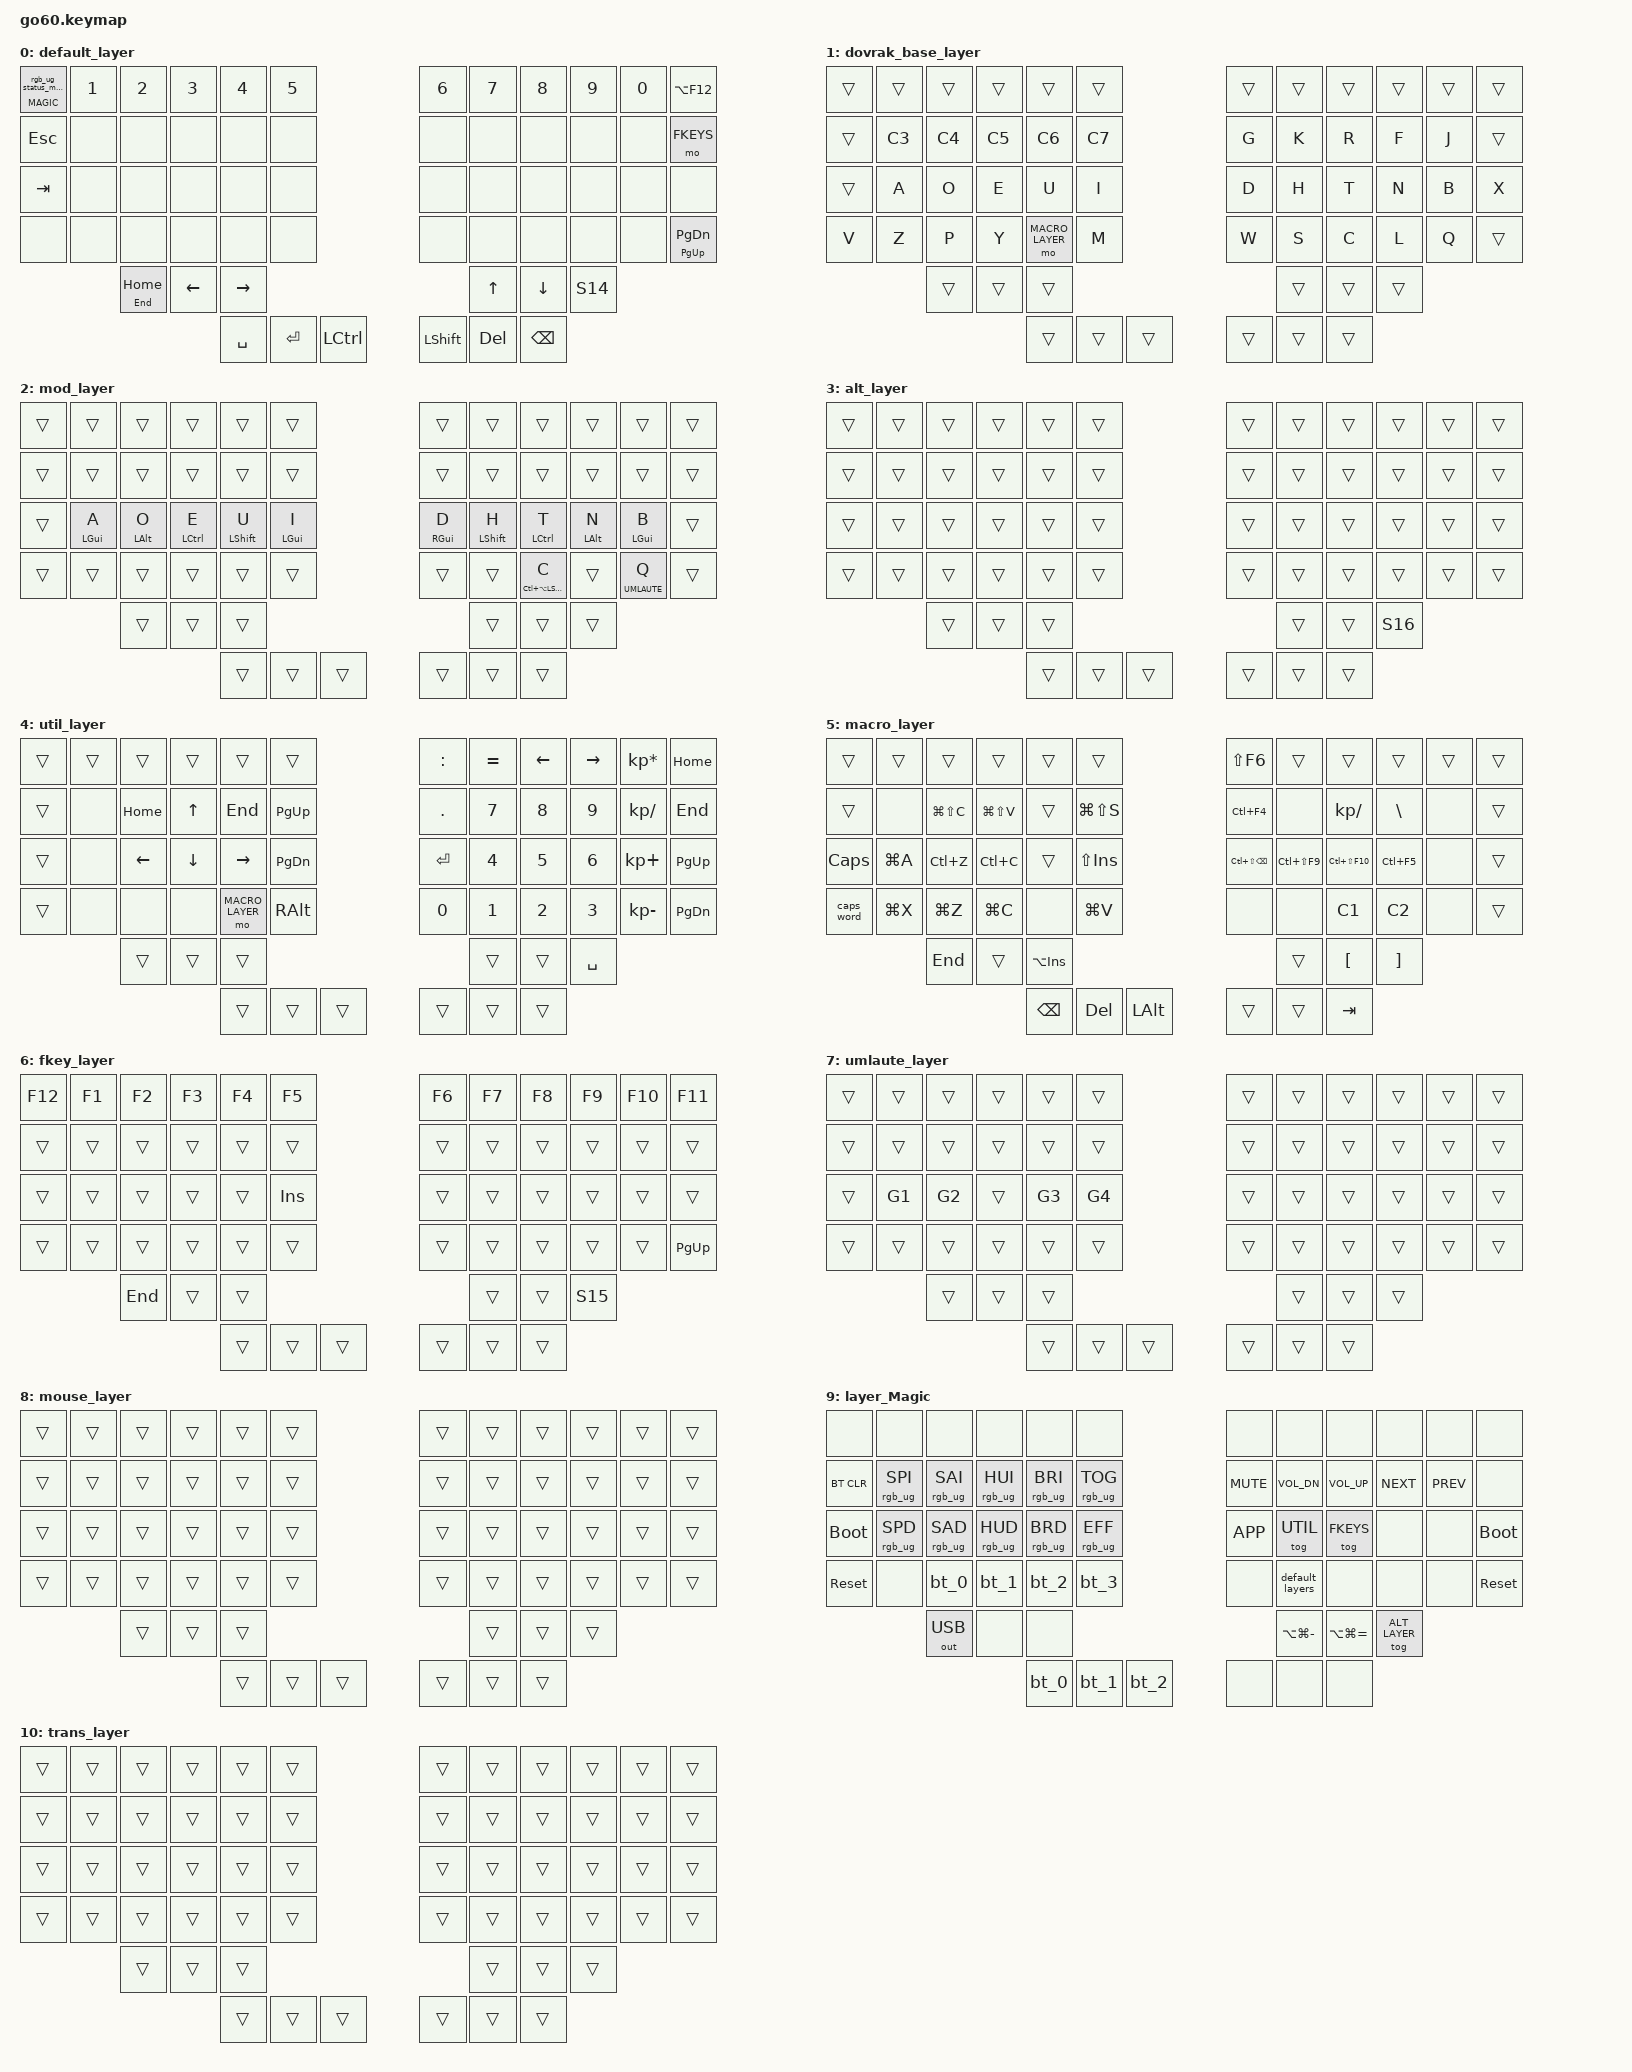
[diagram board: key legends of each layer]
/*
 * Copyright (c) 2020 The ZMK Contributors
 *
 * SPDX-License-Identifier: MIT
 */

#include <behaviors.dtsi>

#include <dt-bindings/zmk/bt.h>
#include <dt-bindings/zmk/ext_power.h>
#include <dt-bindings/zmk/keys.h>
#include <dt-bindings/zmk/outputs.h>
#include <dt-bindings/zmk/rgb.h>
#include <dt-bindings/zmk/input_transform.h>
#include <dt-bindings/zmk/pointing.h>

#include <input/processors.dtsi>
#include <zephyr/dt-bindings/input/input-event-codes.h>

#define HYPER LC(LA(LSHFT))

#define CUT   &kp LC(X)
#define COPY  &kp LC(C)
#define PASTE &kp LC(V)
#define PASTEINS &kp LS(INS)

#define D16 &kp KP_SLASH                          // / when tapped
#define D17 &kp BACKSLASH                         // \ when tapped

// layers
#define DEFAULT                0
#define DOVRAK                 1
#define MOD_LAYER              2
#define ALT_LAYER              3
#define UTIL                   4
#define MACRO_LAYER            5
#define FKEYS                  6
#define UMLAUTE                7
#define MOUSE                  8
#define MAGIC                  9

&mt {
//    flavor = "tap-preferred";
    tapping-term-ms = <200>;
};
//        #################################################  CUSTOM KEYS ################################################# //
//        ~~~~~~~~~~~~~~~~~~~~~~~~~~~~~~~~~~~~~~~~~~~~~~~~~  CUSTOM KEYS ~~~~~~~~~~~~~~~~~~~~~~~~~~~~~~~~~~~~~~~~~~~~~~~~~ //

// bindings = <
// &0     &1     &2     &3     &4                                                             &5     &6     &7     &8     &9
// &10    &11    &12    &13    &14    &15                                              &16    &17    &18    &19    &20    &21
// &22    &23    &24    &25    &26    &27                                              &28    &29    &30    &31    &32    &33
// &34    &35    &36    &37    &38    &39                                              &40    &41    &42    &43    &44    &45
// &46    &47    &48    &49    &50    &51    &52    &53    &54    &55    &56    &57    &58    &59    &60    &61    &62    &63
// &64    &65    &66    &67    &68           &69    &70    &71    &72    &73    &74           &75    &76    &77    &78    &79
// >;

// bindings = <
// &0    &1    &2    &3    &4    &5                                         &6    &7    &8    &9    &10   &11
// &12   &13   &14   &15   &16   &17                                        &18   &19   &20   &21   &22   &23
// &24   &25   &26   &27   &28   &29                                        &30   &31   &32   &33   &34   &35
// &36   &37   &38   &39   &40   &41                                        &42   &43   &44   &45   &46   &47
//                   &48   &49   &50                                        &51   &52   &53
//                                    &54   &55   &56     &57   &58   &59
// >;
/ {
    input_processors {
        zip_click_to_right_click_mapper: zip_click_to_right_click_mapper {
            compatible = "zmk,input-processor-code-mapper";
            #input-processor-cells = <0>;
            type = <INPUT_EV_KEY>;
            map = <INPUT_BTN_0 INPUT_BTN_1>;
        };
    };

    behaviors {
//        #################################################  HOMEROW MODS #################################################  //
         hml: home_row_mod_left {
             compatible = "zmk,behavior-hold-tap";
             #binding-cells = <2>;
             flavor = "balanced";
             require-prior-idle-ms = <200>;
             tapping-term-ms = <250>;
             quick-tap-ms = <180>;
             bindings = <&kp>, <&kp>;
             hold-trigger-key-positions = <6>,<7>,<8>,<9>,<10>,<11>,<18>,<19>,<20>,<21>,<22>,<23>,<30>,<31>,<32>,<33>,<34>,<35>,<42>,<43>,<44>,<45>,<46>,<47>,<51>,<52>,<53>, // List of keys on the right side of the keyboard
             <54>,<55>,<56>,<57>,<58>,<59>; //thumbs
             hold-trigger-on-release;
         };
         hmr: home_row_mod_right {
             compatible = "zmk,behavior-hold-tap";
             #binding-cells = <2>;
             flavor = "balanced";
             require-prior-idle-ms = <200>;
             tapping-term-ms = <250>;
             quick-tap-ms = <180>;
             bindings = <&kp>, <&kp>;
             hold-trigger-key-positions = <0>,<1>,<2>,<3>,<4>,<5>,<12>,<13>,<14>,<15>,<16>,<17>,<24>,<25>,<26>,<27>,<28>,<29>,<36>,<37>,<38>,<39>,<40>,<41>,<48>,<49>,<50>,// List of keys on the left side of the keyboard
             <52>,<53>,<54>,<55>,<56>,<57>,<69>,<70>,<71>,<72>,<73>,<74>; //thumbs
             hold-trigger-on-release;
         };

        hmr2: home_row_mod_right2 {
            compatible = "zmk,behavior-hold-tap";
            #binding-cells = <2>;
            flavor = "balanced";
            require-prior-idle-ms = <150>;
            tapping-term-ms = <180>;
            quick-tap-ms = <125>;
            bindings = <&mo>, <&kp>;
            hold-trigger-key-positions = <0>,<1>,<2>,<3>,<4>,<5>,<12>,<13>,<14>,<15>,<16>,<17>,<24>,<25>,<26>,<27>,<28>,<29>,<36>,<37>,<38>,<39>,<40>,<41>,<48>,<49>,<50>;// List of keys on the left side of the keyboard
            hold-trigger-on-release;
        };
//        ~~~~~~~~~~~~~~~~~~~~~~~~~~~~~~~~~~~~~~~~~~~~~~~~  HOMEROW MODS ~~~~~~~~~~~~~~~~~~~~~~~~~~~~~~~~~~~~~~~~~~~~~~~~  //

//        #################################################  CUSTOM KEYS ################################################# //

        S0: S0 {
                    compatible = "zmk,behavior-mod-morph";
                    #binding-cells = <0>;
                    bindings = <&kp ESC>, <&caps_word>;
                    mods = <(MOD_LSFT|MOD_RSFT)>;
        };

        S1: S1   { compatible = "zmk,behavior-mod-morph"; #binding-cells = <0>; bindings = <&kp COMMA>             , <&kp UNDERSCORE>      ; mods = <(MOD_LSFT|MOD_RSFT)>; };
        S2: S2   { compatible = "zmk,behavior-mod-morph"; #binding-cells = <0>; bindings = <&kp EQUAL>             , <&kp CARET>           ; mods = <(MOD_LSFT|MOD_RSFT)>; };
        S3: S3   { compatible = "zmk,behavior-mod-morph"; #binding-cells = <0>; bindings = <&kp DOT>               , <&kp EXCLAMATION>     ; mods = <(MOD_LSFT|MOD_RSFT)>; };
        S4: S4   { compatible = "zmk,behavior-mod-morph"; #binding-cells = <0>; bindings = <&kp COLON>             , <&kp SEMI>            ; mods = <(MOD_LSFT|MOD_RSFT)>; };
        S5: S5   { compatible = "zmk,behavior-mod-morph"; #binding-cells = <0>; bindings = <&kp DOLLAR>            , <&kp AMPS>            ; mods = <(MOD_LSFT|MOD_RSFT)>; };
        S6: S6   { compatible = "zmk,behavior-mod-morph"; #binding-cells = <0>; bindings = <&kp DOUBLE_QUOTES>     , <&kp SINGLE_QUOTE>    ; mods = <(MOD_LSFT|MOD_RSFT)>; };
        S7: S7   { compatible = "zmk,behavior-mod-morph"; #binding-cells = <0>; bindings = <&kp LEFT_BRACE>        , <&kp LESS_THAN>       ; mods = <(MOD_LSFT|MOD_RSFT)>; };
        S8: S8   { compatible = "zmk,behavior-mod-morph"; #binding-cells = <0>; bindings = <&kp LEFT_PARENTHESIS>  , <&kp LEFT_BRACKET>    ; mods = <(MOD_LSFT|MOD_RSFT)>; };
        S9: S9   { compatible = "zmk,behavior-mod-morph"; #binding-cells = <0>; bindings = <&kp RIGHT_PARENTHESIS> , <&kp RIGHT_BRACKET>   ; mods = <(MOD_LSFT|MOD_RSFT)>; };
        S10: S10 { compatible = "zmk,behavior-mod-morph"; #binding-cells = <0>; bindings = <&kp RIGHT_BRACE>       , <&kp GREATER_THAN>    ; mods = <(MOD_LSFT|MOD_RSFT)>; };
        S11: S11 { compatible = "zmk,behavior-mod-morph"; #binding-cells = <0>; bindings = <&kp TILDE>             , <&kp CARET>           ; mods = <(MOD_LSFT|MOD_RSFT)>; };
        S12: S12 { compatible = "zmk,behavior-mod-morph"; #binding-cells = <0>; bindings = <&kp QUESTION>          , <&kp EXCLAMATION>     ; mods = <(MOD_LSFT|MOD_RSFT)>; };
        S13: S13 { compatible = "zmk,behavior-mod-morph"; #binding-cells = <0>; bindings = <&kp HASH>              , <&kp GRAVE>           ; mods = <(MOD_LSFT|MOD_RSFT)>; };
        S14: S14 { compatible = "zmk,behavior-mod-morph"; #binding-cells = <0>; bindings = <&kp KP_PLUS>           , <&kp KP_MINUS>        ; mods = <(MOD_LSFT|MOD_RSFT)>; };
        S15: S15 { compatible = "zmk,behavior-mod-morph"; #binding-cells = <0>; bindings = <&kp KP_MINUS>          , <&kp SLASH>           ; mods = <(MOD_LSFT|MOD_RSFT)>; };
        S16: S16 { compatible = "zmk,behavior-mod-morph"; #binding-cells = <0>; bindings = <&kp KP_MINUS>          , <&kp UNDERSCORE>      ; mods = <(MOD_LSFT|MOD_RSFT)>; };

        C0:  C0    { compatible = "zmk,behavior-mod-morph"; #binding-cells = <0>; bindings = <&S14>   , <&S15>                             ; mods =                   <(MOD_LCTL|MOD_RCTL|MOD_LALT|MOD_RALT)>; keep-mods = <(MOD_LSFT|MOD_RSFT)>; };
        // S7 & S8 ([{<
        C1:  C1    { compatible = "zmk,behavior-mod-morph"; #binding-cells = <0>; bindings = <&kp LEFT_PARENTHESIS>   , <&C1A>             ; mods = <(MOD_LSFT|MOD_RSFT|MOD_LCTL|MOD_RCTL|MOD_LALT|MOD_RALT)>; keep-mods = <(MOD_LCTL|MOD_RCTL|MOD_LALT|MOD_RALT)>; };
        C1A: C1A   { compatible = "zmk,behavior-mod-morph"; #binding-cells = <0>; bindings = <&kp LEFT_BRACKET>       , <&C1B>             ; mods = <(                  MOD_LCTL|MOD_RCTL|MOD_LALT|MOD_RALT)>; keep-mods = <(                  MOD_LALT|MOD_RALT)>; };
        C1B: C1B   { compatible = "zmk,behavior-mod-morph"; #binding-cells = <0>; bindings = <&kp LEFT_BRACE>         , <&kp LESS_THAN>    ; mods = <(                                    MOD_LALT|MOD_RALT)>;                                                      };
        // S9 & S10 )]}>
        C2:  C2    { compatible = "zmk,behavior-mod-morph"; #binding-cells = <0>; bindings = <&kp RIGHT_PARENTHESIS>  , <&C2A>             ; mods = <(MOD_LSFT|MOD_RSFT|MOD_LCTL|MOD_RCTL|MOD_LALT|MOD_RALT)>; keep-mods = <(MOD_LCTL|MOD_RCTL|MOD_LALT|MOD_RALT)>; };
        C2A: C2A   { compatible = "zmk,behavior-mod-morph"; #binding-cells = <0>; bindings = <&kp RIGHT_BRACKET>      , <&C2B>             ; mods = <(                  MOD_LCTL|MOD_RCTL|MOD_LALT|MOD_RALT)>; keep-mods = <(                  MOD_LALT|MOD_RALT)>; };
        C2B: C2B   { compatible = "zmk,behavior-mod-morph"; #binding-cells = <0>; bindings = <&kp RIGHT_BRACE>        , <&kp GREATER_THAN> ; mods = <(                                    MOD_LALT|MOD_RALT)>;                                                      };

        // |*#^
        C3:  C3    { compatible = "zmk,behavior-mod-morph"; #binding-cells = <0>; bindings = <&kp PIPE>               , <&C3A>             ; mods = <(MOD_LSFT|MOD_RSFT|MOD_LCTL|MOD_RCTL|MOD_LALT|MOD_RALT)>; keep-mods = <(MOD_LCTL|MOD_RCTL|MOD_LALT|MOD_RALT)>; };
        C3A: C3A   { compatible = "zmk,behavior-mod-morph"; #binding-cells = <0>; bindings = <&kp ASTERISK>           , <&C3B>             ; mods = <(                  MOD_LCTL|MOD_RCTL|MOD_LALT|MOD_RALT)>; keep-mods = <(                  MOD_LALT|MOD_RALT)>; };
        C3B: C3B   { compatible = "zmk,behavior-mod-morph"; #binding-cells = <0>; bindings = <&kp HASH>               , <&kp CARET>        ; mods = <(                                    MOD_LALT|MOD_RALT)>;                                                      };

        // !?&|
        C4:  C4    { compatible = "zmk,behavior-mod-morph"; #binding-cells = <0>; bindings = <&kp EXCLAMATION>        , <&C4A>             ; mods = <(MOD_LSFT|MOD_RSFT|MOD_LCTL|MOD_RCTL|MOD_LALT|MOD_RALT)>; keep-mods = <(MOD_LCTL|MOD_RCTL|MOD_LALT|MOD_RALT)>; };
        C4A: C4A   { compatible = "zmk,behavior-mod-morph"; #binding-cells = <0>; bindings = <&kp QUESTION>           , <&C4B>             ; mods = <(                  MOD_LCTL|MOD_RCTL|MOD_LALT|MOD_RALT)>; keep-mods = <(                  MOD_LALT|MOD_RALT)>; };
        C4B: C4B   { compatible = "zmk,behavior-mod-morph"; #binding-cells = <0>; bindings = <&kp AMPS>               , <&kp PIPE>         ; mods = <(                                    MOD_LALT|MOD_RALT)>;                                                      };

        // .=,_
        C5:  C5    { compatible = "zmk,behavior-mod-morph"; #binding-cells = <0>; bindings = <&kp DOT>                , <&C5A>             ; mods = <(MOD_LSFT|MOD_RSFT|MOD_LCTL|MOD_RCTL|MOD_LALT|MOD_RALT)>; keep-mods = <(MOD_LCTL|MOD_RCTL|MOD_LALT|MOD_RALT)>; };
        C5A: C5A   { compatible = "zmk,behavior-mod-morph"; #binding-cells = <0>; bindings = <&kp EQUAL>              , <&C5B>             ; mods = <(                  MOD_LCTL|MOD_RCTL|MOD_LALT|MOD_RALT)>; keep-mods = <(                  MOD_LALT|MOD_RALT)>; };
        C5B: C5B   { compatible = "zmk,behavior-mod-morph"; #binding-cells = <0>; bindings = <&kp COMMA>              , <&kp PLUS>         ; mods = <(                                    MOD_LALT|MOD_RALT)>;                                                      };

        // :;%~
        C6:  C6    { compatible = "zmk,behavior-mod-morph"; #binding-cells = <0>; bindings = <&kp SEMI>               , <&C6A>             ; mods = <(MOD_LSFT|MOD_RSFT|MOD_LCTL|MOD_RCTL|MOD_LALT|MOD_RALT)>; keep-mods = <(MOD_LCTL|MOD_RCTL|MOD_LALT|MOD_RALT)>; };
        C6A: C6A   { compatible = "zmk,behavior-mod-morph"; #binding-cells = <0>; bindings = <&kp COLON>              , <&C6B>             ; mods = <(                  MOD_LCTL|MOD_RCTL|MOD_LALT|MOD_RALT)>; keep-mods = <(                  MOD_LALT|MOD_RALT)>; };
        C6B: C6B   { compatible = "zmk,behavior-mod-morph"; #binding-cells = <0>; bindings = <&kp PERCENT>            , <&kp TILDE>        ; mods = <(                                    MOD_LALT|MOD_RALT)>;                                                      };

        // "'`
        C7:  C7    { compatible = "zmk,behavior-mod-morph"; #binding-cells = <0>; bindings = <&kp DOUBLE_QUOTES>      , <&C7A>             ; mods = <(MOD_LSFT|MOD_RSFT|MOD_LCTL|MOD_RCTL|MOD_LALT|MOD_RALT)>; keep-mods = <(MOD_LCTL|MOD_RCTL|MOD_LALT|MOD_RALT)>; };
        C7A: C7A   { compatible = "zmk,behavior-mod-morph"; #binding-cells = <0>; bindings = <&kp SINGLE_QUOTE>       , <&C7B>             ; mods = <(                  MOD_LCTL|MOD_RCTL|MOD_LALT|MOD_RALT)>; keep-mods = <(                  MOD_LALT|MOD_RALT)>; };
        C7B: C7B   { compatible = "zmk,behavior-mod-morph"; #binding-cells = <0>; bindings = <&kp GRAVE>              , <&kp DOLLAR>       ; mods = <(                                    MOD_LALT|MOD_RALT)>;                                                      };

        // a A
        G1:  G1    { compatible = "zmk,behavior-mod-morph"; #binding-cells = <0>; bindings = <&macro_ae>   , <&macro_AEE>   ; mods = <(MOD_LSFT|MOD_RSFT)>; };
        G2:  G2    { compatible = "zmk,behavior-mod-morph"; #binding-cells = <0>; bindings = <&macro_oe>   , <&macro_OEE>   ; mods = <(MOD_LSFT|MOD_RSFT)>; };
        G3:  G3    { compatible = "zmk,behavior-mod-morph"; #binding-cells = <0>; bindings = <&macro_ue>   , <&macro_UEE>   ; mods = <(MOD_LSFT|MOD_RSFT)>; };
        G4:  G4    { compatible = "zmk,behavior-mod-morph"; #binding-cells = <0>; bindings = <&macro_sz>   , <&macro_sz>    ; mods = <(MOD_LSFT|MOD_RSFT)>; };
//        ~~~~~~~~~~~~~~~~~~~~~~~~~~~~~~~~~~~~~~~~~~~~~~~~  CUSTOMKEYS ~~~~~~~~~~~~~~~~~~~~~~~~~~~~~~~~~~~~~~~~~~~~~~~~  //

        magic: magic {
            compatible = "zmk,behavior-hold-tap";
            #binding-cells = <2>;
            flavor = "tap-preferred";
            tapping-term-ms = <200>;
            bindings = <&mo>, <&rgb_ug_status_macro>;
        };

        fkey_td: fkey_td {
            compatible = "zmk,behavior-tap-dance";
            #binding-cells = <0>;
            tapping-term-ms = <200>;
            bindings = <&mo FKEYS>, <&to FKEYS>;
        };

        bt_0: bt_0 {
            compatible = "zmk,behavior-tap-dance";
            #binding-cells = <0>;
            tapping-term-ms = <200>;
            bindings = <&bt_select_0>, <&bt BT_DISC 0>;
        };
        bt_1: bt_1 {
            compatible = "zmk,behavior-tap-dance";
            #binding-cells = <0>;
            tapping-term-ms = <200>;
            bindings = <&bt_select_1>, <&bt BT_DISC 1>;
        };
        bt_2: bt_2 {
            compatible = "zmk,behavior-tap-dance";
            #binding-cells = <0>;
            tapping-term-ms = <200>;
            bindings = <&bt_select_2>, <&bt BT_DISC 2>;
        };
        bt_3: bt_3 {
            compatible = "zmk,behavior-tap-dance";
            #binding-cells = <0>;
            tapping-term-ms = <200>;
            bindings = <&bt_select_3>, <&bt BT_DISC 3>;
        };
    };

    macros {
//        #################################################  ASCII KEYS ################################################# //
        // ä (U+00E4)
        macro_ae: macro_ae {
            compatible = "zmk,behavior-macro";
            #binding-cells = <0>;
            bindings
              = <&macro_press &kp LC(LS(U))>
              , <&macro_release>
              , <&macro_tap &kp E>
              , <&macro_tap &kp N4>
              , <&macro_tap &kp SPACE>
              ;
        };

        // ö (U+00F6)
        macro_oe: macro_oe {
            compatible = "zmk,behavior-macro";
            #binding-cells = <0>;
            bindings
              = <&macro_press &kp LC(LS(U))>
              , <&macro_release>
              , <&macro_tap &kp F>
              , <&macro_tap &kp N6>
              , <&macro_tap &kp SPACE>
              ;
        };

        // ü (U+00FC)
        macro_ue: macro_ue {
            compatible = "zmk,behavior-macro";
            #binding-cells = <0>;
            bindings
              = <&macro_press &kp LC(LS(U))>
              , <&macro_release>
              , <&macro_tap &kp F>
              , <&macro_tap &kp C>
              , <&macro_tap &kp SPACE>
              ;
        };

        // Ä (U+00C4)
        macro_AEE: macro_AEE {
            compatible = "zmk,behavior-macro";
            #binding-cells = <0>;
            bindings
              = <&macro_press &kp LC(LS(U))>
              , <&macro_release>
              , <&macro_tap &kp C>
              , <&macro_tap &kp N4>
              , <&macro_tap &kp SPACE>
              ;
        };

        // Ö (U+00D6)
        macro_OEE: macro_OEE {
            compatible = "zmk,behavior-macro";
            #binding-cells = <0>;
            bindings
              = <&macro_press &kp LC(LS(U))>
              , <&macro_release>
              , <&macro_tap &kp D>
              , <&macro_tap &kp N6>
              , <&macro_tap &kp SPACE>
              ;
        };

        // Ü (U+00DC)
        macro_UEE: macro_UEE {
            compatible = "zmk,behavior-macro";
            #binding-cells = <0>;
            bindings
              = <&macro_press &kp LC(LS(U))>
              , <&macro_release>
              , <&macro_tap &kp D>
              , <&macro_tap &kp C>
              , <&macro_tap &kp SPACE>
              ;
        };

        // ß (U+00DF)
        macro_sz: macro_sz {
            compatible = "zmk,behavior-macro";
            #binding-cells = <0>;
            bindings
              = <&macro_press &kp LC(LS(U))>
              , <&macro_release>
              , <&macro_tap &kp D>
              , <&macro_tap &kp F>
              , <&macro_tap &kp SPACE>
              ;
        };
//        ~~~~~~~~~~~~~~~~~~~~~~~~~~~~~~~~~~~~~~~~~~~~~~~~~  ASCII KEYS ~~~~~~~~~~~~~~~~~~~~~~~~~~~~~~~~~~~~~~~~~~~~~~~~~ //
        default_layers: default_layers {
                              compatible = "zmk,behavior-macro";
                              #binding-cells = <0>;
                              bindings
                                = <&tog DOVRAK>
                                , <&tog MOD_LAYER>
                                ;
                          };

        rgb_ug_status_macro: rgb_ug_status_macro {
            compatible = "zmk,behavior-macro";
            #binding-cells = <0>;
            bindings = <&rgb_ug RGB_STATUS>;
        };

        bt_select_0: bt_select_0 {
            compatible = "zmk,behavior-macro";
            #binding-cells = <0>;
            bindings
                = <&out OUT_BLE>,
                  <&bt BT_SEL 0>;
        };
        bt_select_1: bt_select_1 {
            compatible = "zmk,behavior-macro";
            #binding-cells = <0>;
            bindings
                = <&out OUT_BLE>,
                  <&bt BT_SEL 1>;
        };
        bt_select_2: bt_select_2 {
            compatible = "zmk,behavior-macro";
            #binding-cells = <0>;
            bindings
                = <&out OUT_BLE>,
                  <&bt BT_SEL 2>;
        };
        bt_select_3: bt_select_3 {
            compatible = "zmk,behavior-macro";
            #binding-cells = <0>;
            bindings
                = <&out OUT_BLE>,
                  <&bt BT_SEL 3>;
        };
    };

    keymap {
        compatible = "zmk,keymap";

        default_layer {
            bindings = <
            &magic MAGIC 0  &kp N1  &kp N2        &kp N3    &kp N4    &kp N5                                          &kp N6     &kp N7   &kp N8   &kp N9  &kp N0  &kp LA(F12)
            &kp ESC         &none   &none         &none     &none     &none                                           &none      &none    &none    &none   &none   &mo FKEYS
            &kp TAB         &none   &none         &none     &none     &none                                           &none      &none    &none    &none   &none   &none
            &none           &none   &none         &none     &none     &none                                           &none      &none    &none    &none   &none   &mt PG_UP PG_DN
                                    &mt END HOME  &kp LEFT  &kp RIGHT                                                            &kp UP   &kp DOWN &S14
                                                                 &kp SPACE     &kp RET   &kp LCTRL       &kp LSHIFT &kp DEL  &kp BSPC
            >;
        };

        dovrak_base_layer {
            bindings = <
            &trans   &trans   &trans   &trans   &trans           &trans                                        &trans  &trans   &trans   &trans   &trans   &trans
            &trans   &C3      &C4      &C5      &C6              &C7                                           &kp G   &kp K    &kp R    &kp F    &kp J    &trans
            &trans   &kp A    &kp O    &kp E    &kp U            &kp I                                         &kp D   &kp H    &kp T    &kp N    &kp B    &kp X
            &kp V    &kp Z    &kp P    &kp Y    &mo MACRO_LAYER  &kp M                                         &kp W   &kp S    &kp C    &kp L    &kp Q    &trans
                            &trans  &trans  &trans                                                                     &trans   &trans   &trans
                                                             &trans  &trans  &trans  &trans  &trans  &trans
            >;
         };

        mod_layer {
           bindings = <
           &trans  &trans      &trans        &trans         &trans         &trans                          &trans  &trans         &trans         &trans       &trans           &trans
           &trans  &trans      &trans        &trans         &trans         &trans                          &trans  &trans         &trans         &trans       &trans           &trans
           &trans  &hml LGUI A &hml LALT O   &hml LCTRL E   &hml LSHFT U   &hml LGUI I                &hmr RGUI D  &hmr LSHFT H   &hmr LCTRL T   &hmr LALT N  &hmr LGUI B      &trans
           &trans  &trans      &trans        &trans         &trans         &trans                          &trans  &trans         &hmr HYPER C   &trans       &hmr2 UMLAUTE Q  &trans
                               &trans        &trans         &trans                                                 &trans         &trans         &trans
                                                                        &trans  &trans  &trans  &trans  &trans  &trans
           >;
        };

        alt_layer {
            bindings = <
            &trans  &trans  &trans  &trans  &trans  &trans                                                  &trans  &trans  &trans  &trans  &trans  &trans
            &trans  &trans  &trans  &trans  &trans  &trans                                                  &trans  &trans  &trans  &trans  &trans  &trans
            &trans  &trans  &trans  &trans  &trans  &trans                                                  &trans  &trans  &trans  &trans  &trans  &trans
            &trans  &trans  &trans  &trans  &trans  &trans                                                  &trans  &trans  &trans  &trans  &trans  &trans
                            &trans  &trans  &trans                                                                  &trans  &trans  &S16
                                                             &trans  &trans  &trans  &trans  &trans  &trans
           >;
        };

        util_layer {
           bindings = <
           &trans  &trans  &trans    &trans    &trans            &trans                                                     &kp COLON  &kp EQUAL    &kp LEFT   &kp RIGHT      &kp KP_MULTIPLY &kp HOME
           &trans  &none   &kp HOME  &kp UP    &kp END           &kp PG_UP                                                  &kp DOT    &kp N7       &kp N8     &kp N9         &kp KP_DIVIDE   &kp END
           &trans  &none   &kp LEFT  &kp DOWN  &kp RIGHT         &kp PG_DN                                                  &kp RET    &kp N4       &kp N5     &kp N6         &kp KP_PLUS     &kp PG_UP
           &trans  &none   &none     &none     &mo MACRO_LAYER   &kp RALT                                                   &kp N0     &kp N1       &kp N2     &kp N3         &kp KP_MINUS    &kp PG_DN
                           &trans    &trans    &trans                                                                                  &trans       &trans     &kp SPACE
                                                                               &trans  &trans  &trans  &trans  &trans  &trans
           >;
        };

        macro_layer {
           bindings = <
            &trans      &trans           &trans            &trans            &trans   &trans                          &kp LS(F6)         &trans           &trans           &trans          &trans         &trans
            &trans      &none            &kp LG(LS(C))     &kp LG(LS(V))     &trans   &kp LG(LS(S))                   &kp LC(F4)         &none            D16              D17             &none          &trans
            &kp CAPS    &kp LG(A)        &kp LC(Z)         &kp LC(C)         &trans   &kp LS(INS)                     &kp LC(LS(BSPC))   &kp LC(LS(F9))   &kp LC(LS(F10))  &kp LC(F5)      &none          &trans
            &caps_word  &kp LG(X)        &kp LG(Z)         &kp LG(C)         &none    &kp LG(V)                       &none              &none            &C1              &C2             &none          &trans
                                         &kp END           &trans            &kp LA(INS)                                                 &trans           &kp LEFT_BRACKET &kp RIGHT_BRACKET
                                                                             &kp BSPC  &kp DEL  &kp LALT  &trans  &trans  &kp TAB
           >;
        };

        fkey_layer {
            bindings = <
            &kp F12 &kp F1  &kp F2  &kp F3  &kp F4  &kp F5                                                  &kp F6  &kp F7  &kp F8  &kp F9  &kp F10 &kp F11
            &trans  &trans  &trans  &trans  &trans  &trans                                                  &trans  &trans  &trans  &trans  &trans  &trans
            &trans  &trans  &trans  &trans  &trans  &kp INS                                                 &trans  &trans  &trans  &trans  &trans  &trans
            &trans  &trans  &trans  &trans  &trans  &trans                                                  &trans  &trans  &trans  &trans  &trans  &kp PG_UP
                            &kp END &trans  &trans                                                                  &trans  &trans  &S15
                                                             &trans  &trans  &trans  &trans  &trans  &trans
           >;
        };

        umlaute_layer {
           bindings = <
           &trans  &trans  &trans  &trans  &trans  &trans                                                  &trans  &trans  &trans  &trans  &trans  &trans
           &trans  &trans  &trans  &trans  &trans  &trans                                                  &trans  &trans  &trans  &trans  &trans  &trans
           &trans  &G1     &G2     &trans  &G3     &G4                                                     &trans  &trans  &trans  &trans  &trans  &trans
           &trans  &trans  &trans  &trans  &trans  &trans                                                  &trans  &trans  &trans  &trans  &trans  &trans
                           &trans  &trans  &trans                                                                  &trans  &trans  &trans
                                                            &trans  &trans  &trans  &trans  &trans  &trans
          >;
        };
        // not needed here just for completions
         mouse_layer {
            bindings = <
            &trans  &trans  &trans  &trans  &trans  &trans                                                  &trans  &trans  &trans  &trans  &trans  &trans
            &trans  &trans  &trans  &trans  &trans  &trans                                                  &trans  &trans  &trans  &trans  &trans  &trans
            &trans  &trans  &trans  &trans  &trans  &trans                                                  &trans  &trans  &trans  &trans  &trans  &trans
            &trans  &trans  &trans  &trans  &trans  &trans                                                  &trans  &trans  &trans  &trans  &trans  &trans
                            &trans  &trans  &trans                                                                  &trans  &trans  &trans
                                                             &trans  &trans  &trans  &trans  &trans  &trans
           >;
        };
        layer_Magic {
            bindings = <
             &none          &none            &none            &none            &none            &none                                     &none      &none           &none          &none      &none      &none
             &bt BT_CLR     &rgb_ug RGB_SPI  &rgb_ug RGB_SAI  &rgb_ug RGB_HUI  &rgb_ug RGB_BRI  &rgb_ug RGB_TOG                           &kp C_MUTE &kp C_VOL_DN    &kp C_VOL_UP   &kp C_NEXT &kp C_PREV &none
             &bootloader    &rgb_ug RGB_SPD  &rgb_ug RGB_SAD  &rgb_ug RGB_HUD  &rgb_ug RGB_BRD  &rgb_ug RGB_EFF                           &kp K_APP  &tog UTIL       &tog FKEYS     &none      &none      &bootloader
             &sys_reset     &none            &bt_0            &bt_1            &bt_2            &bt_3                                     &none      &default_layers &none          &none      &none      &sys_reset
                                             &out OUT_USB     &none            &none                                                                 &kp LA(LG(MINUS)) &kp LA(LG(EQUAL))  &tog ALT_LAYER
                                                                                                &bt_0   &bt_1   &bt_2     &none   &none   &none
            >;
        };

        // Template for new layer
         trans_layer {
            bindings = <
            &trans  &trans  &trans  &trans  &trans  &trans                                                  &trans  &trans  &trans  &trans  &trans  &trans
            &trans  &trans  &trans  &trans  &trans  &trans                                                  &trans  &trans  &trans  &trans  &trans  &trans
            &trans  &trans  &trans  &trans  &trans  &trans                                                  &trans  &trans  &trans  &trans  &trans  &trans
            &trans  &trans  &trans  &trans  &trans  &trans                                                  &trans  &trans  &trans  &trans  &trans  &trans
                            &trans  &trans  &trans                                                                  &trans  &trans  &trans
                                                             &trans  &trans  &trans  &trans  &trans  &trans
           >;
        };
    };
};

&cirque_lh_listener {
    input-processors = <&zip_xy_scaler 1 16>, <&zip_xy_to_scroll_mapper>, <&zip_click_to_right_click_mapper>;
    layer_4 {
        layers = <4>;
        input-processors =  <&zip_xy_scaler 3 1>, <&zip_xy_to_scroll_mapper>, <&zip_click_to_right_click_mapper>;
    };
};

&cirque_rh_listener {
    input-processors = <&zip_xy_scaler 3 1>;
    layer_4 {
        layers = <4>;
        input-processors = <&zip_xy_scaler 1 1>;
    };
};
